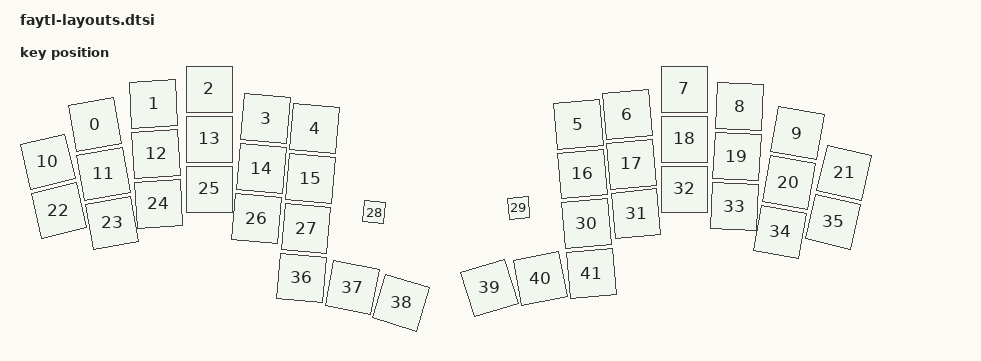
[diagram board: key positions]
// See https://zmk.dev/docs/development/hardware-integration/physical-layouts
// for how to configure this.

#include <physical_layouts.dtsi>

/ {
    default_layout: default_layout {
        compatible = "zmk,physical-layout";
        display-name = "Default Layout";
        transform = <&default_transform>;
        kscan = <&kscan>;

        // Edit this to define the positions and sizes of the keys, or remove it
        // if your keyboard will not support ZMK Studio.
        // https://zmk.dev/docs/development/hardware-integration/physical-layouts#optional-keys-property
        keys  //                     w   h    x    y     rot    rx    ry
            = <&key_physical_attrs 100 100    0   60 (-1000)     0  1420>
            , <&key_physical_attrs 100 100    0   30  (-300)     0  2200>
            , <&key_physical_attrs 100 100    0    0       0     0     0>
            , <&key_physical_attrs 100 100    0   50     500     0  1400>
            , <&key_physical_attrs 100 100  100   70     500   100  1400>
            , <&key_physical_attrs 100 100  850   70  (-500)   850  1400>
            , <&key_physical_attrs 100 100  950   50  (-500)   950  1400>
            , <&key_physical_attrs 100 100  950    0       0     0     0>
            , <&key_physical_attrs 100 100  950   30     300   950  2200>
            , <&key_physical_attrs 100 100  950   60    1000   950  1420>
            , <&key_physical_attrs 100 100    0  120 (-1300)     0  1600>
            , <&key_physical_attrs 100 100    0  160 (-1000)     0  1420>
            , <&key_physical_attrs 100 100    0  130  (-300)     0  2200>
            , <&key_physical_attrs 100 100    0  100       0     0     0>
            , <&key_physical_attrs 100 100    0  150     500     0  1400>
            , <&key_physical_attrs 100 100  100  170     500   100  1400>
            , <&key_physical_attrs 100 100  850  170  (-500)   850  1400>
            , <&key_physical_attrs 100 100  950  150  (-500)   950  1400>
            , <&key_physical_attrs 100 100  950  100       0     0     0>
            , <&key_physical_attrs 100 100  950  130     300   950  2200>
            , <&key_physical_attrs 100 100  950  160    1000   950  1420>
            , <&key_physical_attrs 100 100  950  120    1300   950  1600>
            , <&key_physical_attrs 100 100    0  220 (-1300)     0  1600>
            , <&key_physical_attrs 100 100    0  260 (-1000)     0  1420>
            , <&key_physical_attrs 100 100    0  230  (-300)     0  2200>
            , <&key_physical_attrs 100 100    0  200       0     0     0>
            , <&key_physical_attrs 100 100    0  250     500     0  1400>
            , <&key_physical_attrs 100 100  100  270     500   100  1400>
            , <&key_physical_attrs  50  50  250  260     500   200  1500>
            , <&key_physical_attrs  50  50  750  260  (-500)   750  1500>
            , <&key_physical_attrs 100 100  850  270  (-500)   850  1400>
            , <&key_physical_attrs 100 100  950  250  (-500)   950  1400>
            , <&key_physical_attrs 100 100  950  200       0     0     0>
            , <&key_physical_attrs 100 100  950  230     300   950  2200>
            , <&key_physical_attrs 100 100  950  260    1000   950  1420>
            , <&key_physical_attrs 100 100  950  220    1300   950  1600>
            , <&key_physical_attrs 100 100  100  370     500   100  1400>
            , <&key_physical_attrs 100 100  100  370    1100   100  1400>
            , <&key_physical_attrs 100 100  100  370    1700   100  1400>
            , <&key_physical_attrs 100 100  850  370 (-1700)   850  1400>
            , <&key_physical_attrs 100 100  850  370 (-1100)   850  1400>
            , <&key_physical_attrs 100 100  850  370  (-500)   850  1400>
        ;
    };
};
